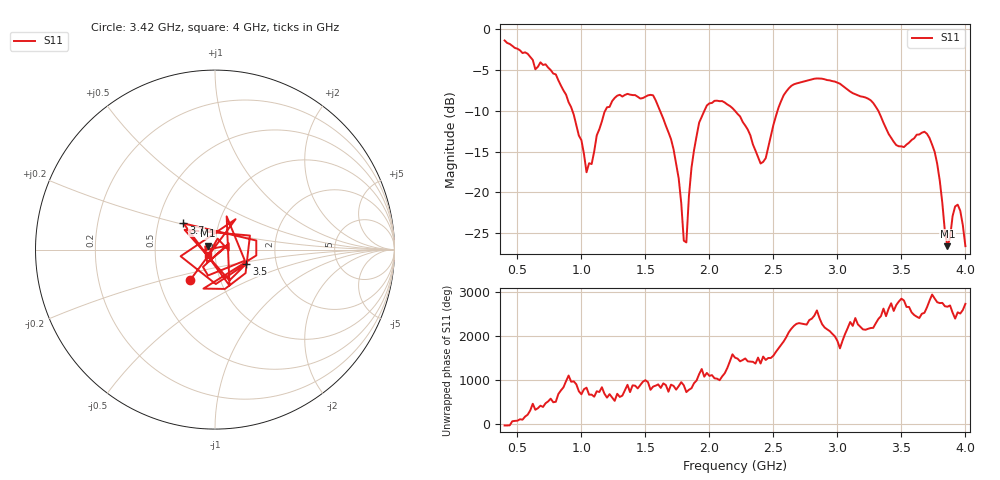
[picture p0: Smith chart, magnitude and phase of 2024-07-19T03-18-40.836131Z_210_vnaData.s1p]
!Created with skrf (http://scikit-rf.org).
# Hz S RI R 50.0
!freq ReS11 ImS11
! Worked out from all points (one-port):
!   181 points, 400 MHz to 4 GHz, reference 50 ohm
!   lowest |S11| = -26.6 dB at 3.86 GHz (marker M1), VSWR 1.10, Z = 46 + j2.03 ohm
!   |S11| at or under -10 dB: 1.615 GHz to 1.96 GHz (345.4 MHz wide, 19.3 % of centre); 2.2 GHz to 2.532 GHz (331.7 MHz wide, 14 % of centre); 3.32 GHz to end of sweep (the widest 3 of 4)
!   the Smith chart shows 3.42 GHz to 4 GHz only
!   S11 on the Smith chart (normalised r, x): 3.42 GHz: 0.72, -0.25; 3.5 GHz: 1.40, -0.23; 3.7 GHz: 0.67, +0.21; 4 GHz: 0.93, -0.05
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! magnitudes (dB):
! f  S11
! 400 MHz  -1.4
! 860 MHz  -7.5
! 1 GHz  -13.6
! 1.04 GHz  -17.5
! 1.18 GHz  -10.2
! 1.3 GHz  -8.0
! 1.56 GHz  -8.1
! 1.7 GHz  -13.5
! 1.76 GHz  -18.3
! 1.8 GHz  -25.9
! 1.82 GHz  -26.1
! 1.86 GHz  -17.0
! 1.92 GHz  -11.4
! 2.04 GHz  -8.8
! 2.2 GHz  -10.0
! 2.4 GHz  -16.5
! 2.56 GHz  -8.8
! 2.66 GHz  -6.7
! 3.1 GHz  -7.6
! 3.28 GHz  -9.0
! 3.42 GHz  -13.3
! 3.5 GHz  -14.3
! 3.56 GHz  -13.9
! 3.7 GHz  -12.8
! 3.78 GHz  -16.5
! 3.86 GHz  -26.6
! 3.94 GHz  -21.5
! 4 GHz  -26.6
